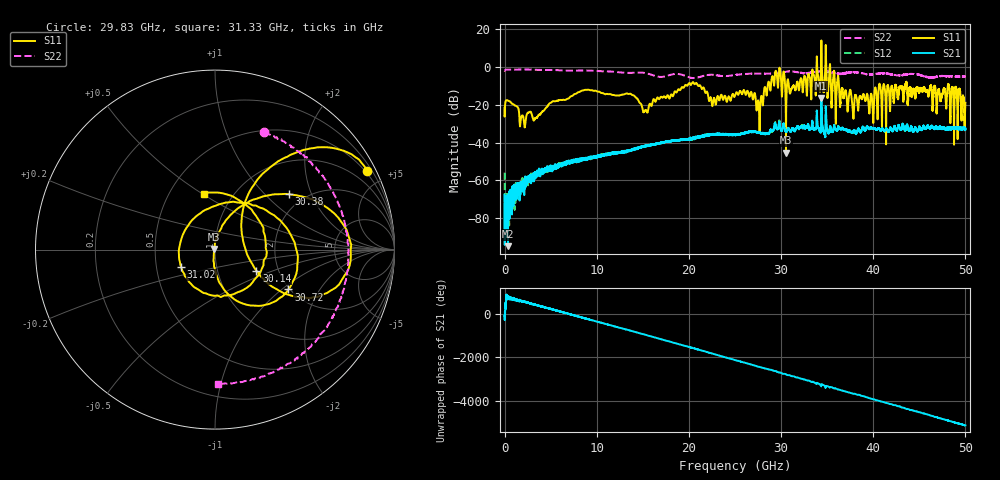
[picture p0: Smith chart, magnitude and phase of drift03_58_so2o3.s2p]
!Created with skrf (http://scikit-rf.org).
# Hz S RI R 50.0
!freq ReS11 ImS11 ReS21 ImS21 ReS12 ImS12 ReS22 ImS22
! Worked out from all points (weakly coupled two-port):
!   10001 points, 300 kHz to 50 GHz, reference 50 ohm
!   highest |S21| = -16.39 dB at 34.37 GHz (marker M1); lowest = -94.8 dB at 365.3 MHz (marker M2)
!   lowest |S11| = -45.4 dB at 30.53 GHz (marker M3), VSWR 1.01, Z = 49.6 + j0.303 ohm
!   |S11| at or under -10 dB: start of sweep to 19.55 GHz; 21.25 GHz to 28.55 GHz (7.295 GHz wide, 29.3 % of centre); 36.28 GHz to 40.62 GHz (4.338 GHz wide, 11.3 % of centre) (the widest 3 of 36)
!   |S22| runs from -5.9 to -1.3 dB; largest |S21 - S12| = 0.029
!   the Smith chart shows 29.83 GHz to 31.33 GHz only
!   S11 on the Smith chart (normalised r, x): 29.83 GHz: 0.44, +4.06; 30.14 GHz: 1.54, -0.39; 30.38 GHz: 1.67, +1.40; 30.72 GHz: 1.97, -1.11; 31.02 GHz: 0.67, -0.14; 31.33 GHz: 0.73, +0.51
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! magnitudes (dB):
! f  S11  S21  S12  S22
! 300 kHz  -21.6  -67.6  -55.9  -2.0
! 365.3 MHz  -17.9  -94.8  -68.8  -1.4
! 3.295 GHz  -27.3  -56.7  -56.4  -1.5
! 8.335 GHz  -12.6  -49.3  -48.7  -1.9
! 15.28 GHz  -22.7  -41.9  -41.9  -3.3
! 16.67 GHz  -16.5  -40.4  -40.5  -5.2
! 20.26 GHz  -9.1  -38.3  -38.1  -5.8
! 22.71 GHz  -16.5  -35.4  -35.9  -4.2
! 25 GHz  -15.2  -35.8  -35.8  -4.3
! 27.53 GHz  -17.9  -34.8  -34.5  -3.5
! 29.83 GHz  -0.4  -29.2  -28.5  -3.0
! 30.14 GHz  -11.7  -33.2  -33.5  -2.7
! 30.38 GHz  -5.8  -32.3  -32.6  -2.6
! 30.53 GHz  -45.4  -34.1  -34.1  -2.5
! 30.72 GHz  -6.6  -32.6  -32.7  -2.5
! 31.02 GHz  -13.5  -34.1  -34.2  -2.4
! 31.33 GHz  -10.0  -32.7  -32.5  -2.5
! 33.34 GHz  -7.4  -31.2  -31.3  -2.9
! 34.37 GHz  14.0  -16.4  -17.7  -2.3
! 37.86 GHz  -27.2  -33.8  -34.0  -2.8
! 41.67 GHz  -11.4  -34.1  -33.9  -3.6
! 50 GHz  -19.0  -33.2  -32.8  -4.9
